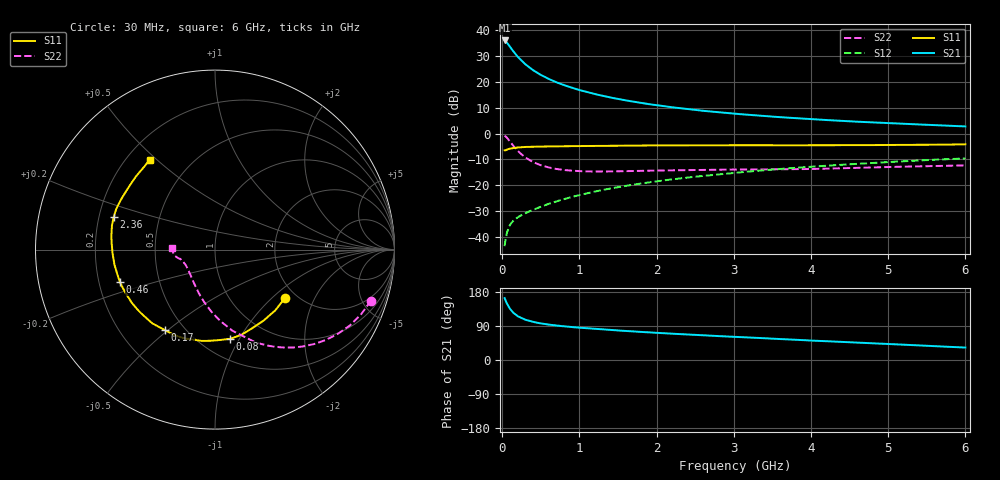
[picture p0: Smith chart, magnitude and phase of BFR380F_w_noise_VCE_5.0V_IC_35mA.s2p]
! Infineon Technologies  Discrete & RF Semiconductors
! BFR380F
! VCE =  5.0 V,  IC =  35 mA
! Common Emitter S-Parameters:  Nov 2015
# GHz  S  MA  R  50
!  f  S11  S21  S12  S22
! GHz  MAG  ANG  MAG  ANG  MAG  ANG  MAG  ANG
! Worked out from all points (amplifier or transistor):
!   206 points, 30 MHz to 6 GHz, reference 50 ohm
!   highest |S21| = 36.1 dB at 30 MHz (marker M1)
!   |S21| within 3 dB of that: start of sweep to 113 MHz
!   unconditionally stable (mu >= 1): 1.079 GHz to 4.911 GHz
!   at 200 MHz: K = 0.51, MSG = 31.1 dB, |S12| = -32.4 dB
!   at 1.56 GHz: K = 1.03, MAG = 15.7 dB, |S12| = -20.5 dB
!   at 6 GHz: K = 0.99, MSG = 6.2 dB, |S12| = -9.6 dB
!   lowest NFmin = 1.29 dB at 900 MHz
!   S11 on the Smith chart (normalised r, x): 30 MHz: 1.75, -1.21; 80 MHz: 0.69, -0.91; 170 MHz: 0.39, -0.49; 460 MHz: 0.29, -0.15; 2.36 GHz: 0.26, +0.15; 6 GHz: 0.29, +0.47
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0.03  0.474 -34.4  63.48 163.4  0.0066 78.0  0.9148 -18.1
0.05  0.4793 -55.6  59.84 153.3  0.0102 71.6  0.8626 -29.3
0.07  0.4973 -72.9  54.98 145.0  0.0134 66.6  0.7965 -39.2
0.08  0.504 -80.5  52.61 141.6  0.0147 64.1  0.7628 -43.6
0.1  0.5089 -93.3  47.79 135.1  0.017 61.0  0.6971 -51.5
0.12  0.5159 -103.3  43.46 129.8  0.0188 58.1  0.6369 -58.3
0.15  0.5276 -116.0  37.92 123.4  0.021 55.5  0.5598 -66.8
0.17  0.5282 -121.8  34.95 120.6  0.0222 54.9  0.5185 -70.7
0.2  0.5393 -130.4  30.7 115.5  0.0239 54.0  0.4622 -77.9
0.24  0.5427 -138.2  26.64 111.4  0.0259 54.1  0.4064 -84.6
0.3  0.5502 -147.3  21.89 106.1  0.0288 55.0  0.344 -93.7
0.36  0.5531 -153.5  18.59 102.6  0.0316 56.6  0.3023 -100.9
0.46  0.5593 -161.0  14.79 98.0  0.0364 59.1  0.2566 -110.9
0.7  0.5664 -171.5  9.854 91.0  0.0486 63.8  0.2063 -128.5
1.04  0.5731 179.9  6.699 84.6  0.0667 67.3  0.1863 -143.9
1.4  0.5809 173.5  4.994 79.2  0.0862 68.7  0.185 -153.4
2.02  0.5907 165.5  3.505 71.5  0.12 68.9  0.1921 -160.7
2.36  0.5927 161.9  3.026 67.7  0.1383 68.3  0.1959 -163.0
3.1  0.5937 154.8  2.363 60.3  0.1787 66.3  0.2013 -165.4
4.1  0.5934 144.9  1.864 50.5  0.2333 62.3  0.2075 -166.3
5.1  0.601 135.7  1.568 41.3  0.2859 57.7  0.2269 -171.8
6  0.6183 126.0  1.374 32.8  0.3301 52.6  0.2419 177.6
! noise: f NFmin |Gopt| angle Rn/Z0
0.45  1.32  0.33  -177  0.08
0.9  1.29  0.36  -177  0.07
1.8  1.5  0.42  -166  0.08
1.9  1.58  0.43  -166  0.08
2.4  1.65  0.45  -156  0.1
3.5  2.23  0.51  -147  0.16
